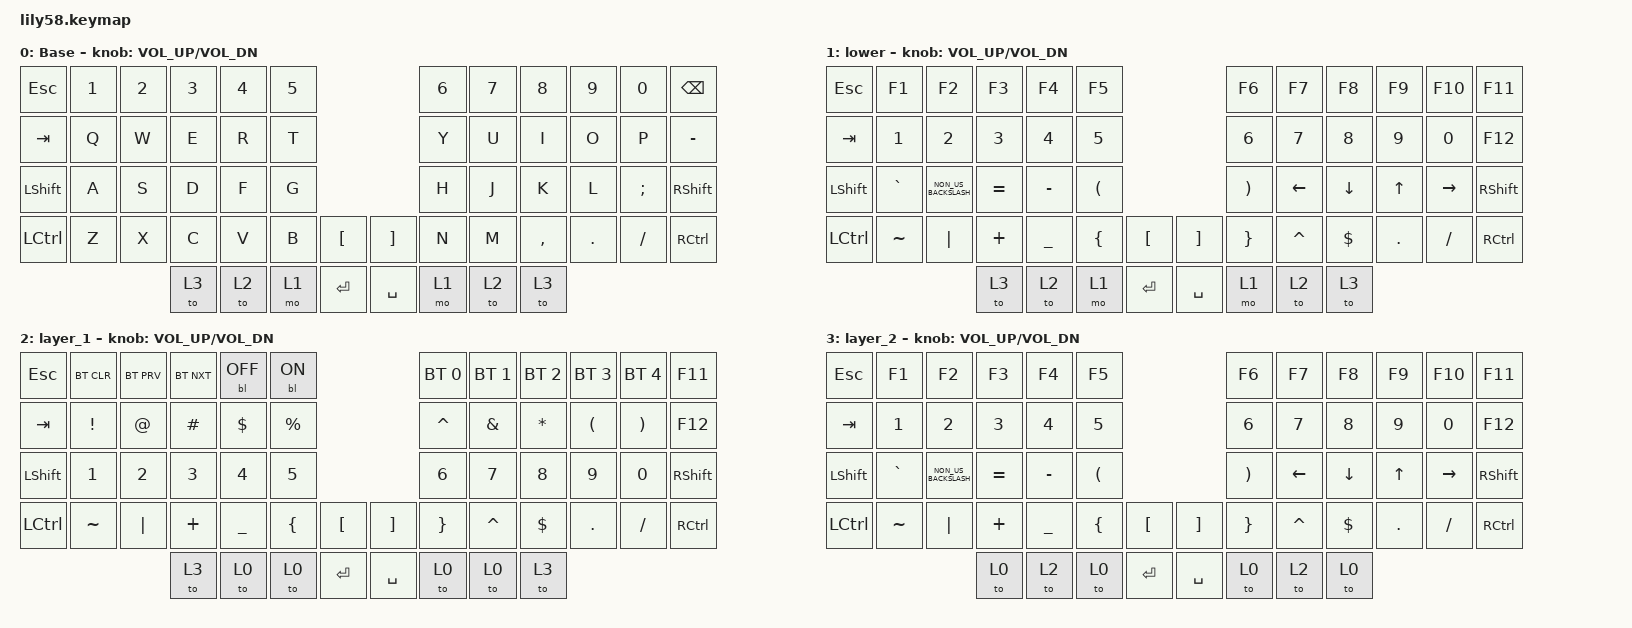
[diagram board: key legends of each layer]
/*
 * Copyright (c) 2020 The ZMK Contributors
 *
 * SPDX-License-Identifier: MIT
 */

#include <behaviors.dtsi>
#include <dt-bindings/zmk/backlight.h>
#include <dt-bindings/zmk/bt.h>
#include <dt-bindings/zmk/keys.h>

/ {
    keymap {
        compatible = "zmk,keymap";

        default_layer {
            // ------------------------------------------------------------------------------------------------------------
            // |  ESC  |  1  |  2  |  3   |  4   |  5   |                   |  6   |  7    |  8    |  9   |   0   |   `   |
            // |  TAB  |  Q  |  W  |  E   |  R   |  T   |                   |  Y   |  U    |  I    |  O   |   P   |   -   |
            // |  CTRL |  A  |  S  |  D   |  F   |  G   |                   |  H   |  J    |  K    |  L   |   ;   |   '   |
            // | SHIFT |  Z  |  X  |  C   |  V   |  B   |   "["  |  |  "]"  |  N   |  M    |  ,    |  .   |   /   | SHIFT |
            //                     | ALT  | GUI  | LOWER|  SPACE |  | ENTER | RAISE| BSPC  | GUI   |

            display-name = "Base";
            bindings = <
&kp ESC           &kp N1  &kp N2  &kp N3  &kp N4  &kp N5                         &kp N6  &kp N7  &kp N8     &kp N9   &kp N0    &kp BACKSPACE
&kp TAB           &kp Q   &kp W   &kp E   &kp R   &kp T                          &kp Y   &kp U   &kp I      &kp O    &kp P     &kp MINUS
&kp LEFT_SHIFT    &kp A   &kp S   &kp D   &kp F   &kp G                          &kp H   &kp J   &kp K      &kp L    &kp SEMI  &kp RIGHT_SHIFT
&kp LEFT_CONTROL  &kp Z   &kp X   &kp C   &kp V   &kp B   &kp LBKT    &kp RBKT   &kp N   &kp M   &kp COMMA  &kp DOT  &kp FSLH  &kp RIGHT_CONTROL
                                  &to 3   &to 2   &mo 1   &kp RET     &kp SPACE  &mo 1   &to 2   &to 3
            >;

            sensor-bindings = <&inc_dec_kp C_VOL_UP C_VOL_DN>;
        };

        lower_layer {
            display-name = "lower";
            bindings = <
&kp ESC           &kp F1        &kp F2                &kp F3        &kp F4          &kp F5                                         &kp F6                 &kp F7          &kp F8          &kp F9   &kp F10          &kp F11
&kp TAB           &kp NUMBER_1  &kp NUMBER_2          &kp NUMBER_3  &kp NUMBER_4    &kp NUMBER_5                                   &kp NUMBER_6           &kp NUMBER_7    &kp NUMBER_8    &kp N9   &kp NUMBER_0     &kp F12
&kp LEFT_SHIFT    &kp GRAVE     &kp NON_US_BACKSLASH  &kp EQUAL     &kp MINUS       &kp LEFT_PARENTHESIS                           &kp RIGHT_PARENTHESIS  &kp LEFT_ARROW  &kp DOWN_ARROW  &kp UP   &kp RIGHT_ARROW  &kp RIGHT_SHIFT
&kp LEFT_CONTROL  &kp TILDE     &kp PIPE              &kp PLUS      &kp UNDERSCORE  &kp LEFT_BRACE        &kp LBKT      &kp RBKT   &kp RIGHT_BRACE        &kp CARET       &kp DOLLAR      &kp DOT  &kp FSLH         &kp RIGHT_CONTROL
                                                      &to 3         &to 2           &mo 1                 &kp RETURN    &kp SPACE  &mo 1                  &to 2           &to 3
            >;

            sensor-bindings = <&inc_dec_kp C_VOL_UP C_VOL_DN>;
        };

        layer_1 {
            display-name = "layer_1";
            bindings = <
&kp ESC           &bt BT_CLR       &bt BT_PRV    &bt BT_NXT    &bl BL_OFF      &bl BL_ON                                &bt BT_SEL 0     &bt BT_SEL 1   &bt BT_SEL 2  &bt BT_SEL 3          &bt BT_SEL 4           &kp F11
&kp TAB           &kp EXCLAMATION  &kp AT_SIGN   &kp HASH      &kp DOLLAR      &kp PERCENT                              &kp CARET        &kp AMPERSAND  &kp ASTERISK  &kp LEFT_PARENTHESIS  &kp RIGHT_PARENTHESIS  &kp F12
&kp LEFT_SHIFT    &kp NUMBER_1     &kp NUMBER_2  &kp NUMBER_3  &kp NUMBER_4    &kp NUMBER_5                             &kp NUMBER_6     &kp NUMBER_7   &kp NUMBER_8  &kp NUMBER_9          &kp NUMBER_0           &kp RIGHT_SHIFT
&kp LEFT_CONTROL  &kp TILDE        &kp PIPE      &kp PLUS      &kp UNDERSCORE  &kp LEFT_BRACE  &kp LBKT      &kp RBKT   &kp RIGHT_BRACE  &kp CARET      &kp DOLLAR    &kp DOT               &kp FSLH               &kp RIGHT_CONTROL
                                                 &to 3         &to 0           &to 0           &kp RETURN    &kp SPACE  &to 0            &to 0          &to 3
            >;

            sensor-bindings = <&inc_dec_kp C_VOL_UP C_VOL_DN>;
        };

        layer_2 {
            display-name = "layer_2";
            bindings = <
&kp ESC           &kp F1        &kp F2                &kp F3        &kp F4          &kp F5                                         &kp F6                 &kp F7          &kp F8          &kp F9   &kp F10          &kp F11
&kp TAB           &kp NUMBER_1  &kp NUMBER_2          &kp NUMBER_3  &kp NUMBER_4    &kp NUMBER_5                                   &kp NUMBER_6           &kp NUMBER_7    &kp NUMBER_8    &kp N9   &kp NUMBER_0     &kp F12
&kp LEFT_SHIFT    &kp GRAVE     &kp NON_US_BACKSLASH  &kp EQUAL     &kp MINUS       &kp LEFT_PARENTHESIS                           &kp RIGHT_PARENTHESIS  &kp LEFT_ARROW  &kp DOWN_ARROW  &kp UP   &kp RIGHT_ARROW  &kp RIGHT_SHIFT
&kp LEFT_CONTROL  &kp TILDE     &kp PIPE              &kp PLUS      &kp UNDERSCORE  &kp LEFT_BRACE        &kp LBKT      &kp RBKT   &kp RIGHT_BRACE        &kp CARET       &kp DOLLAR      &kp DOT  &kp FSLH         &kp RIGHT_CONTROL
                                                      &to 0         &to 2           &to 0                 &kp RETURN    &kp SPACE  &to 0                  &to 2           &to 0
            >;

            sensor-bindings = <&inc_dec_kp C_VOL_UP C_VOL_DN>;
        };
    };
};
